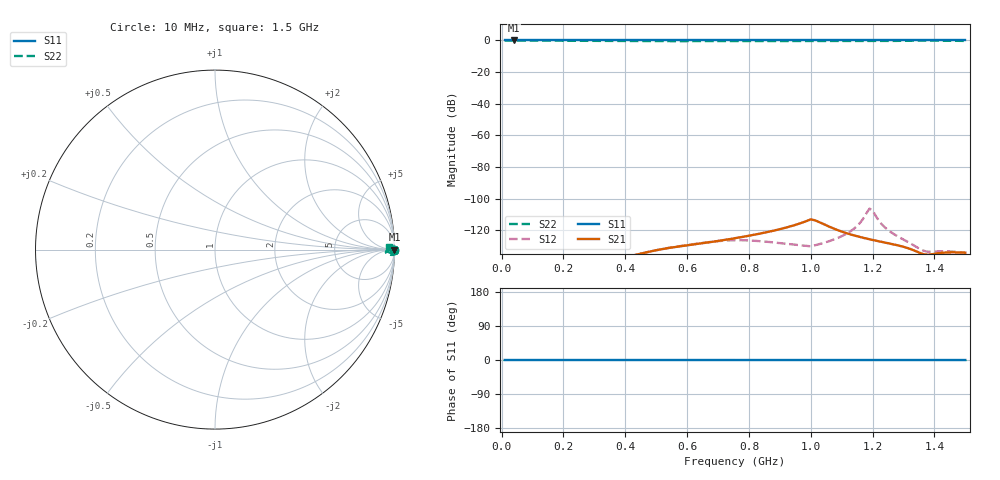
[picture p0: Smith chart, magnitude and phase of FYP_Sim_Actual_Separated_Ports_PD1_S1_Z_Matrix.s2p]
! Touchstone file from project FYP_Sim_Actual_All_Ports
! Exported from HFSS 13.0.2
# GHZ Z MA R 50.000000
! Terminal data exported
! Port[1] = PD1_Void_Port_T1
! Port[2] = Radiating_Plate_T1
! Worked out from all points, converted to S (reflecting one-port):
!   150 points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, 10 MHz to 1.5 GHz, reference 50 ohm
!   lowest |S11| = 0.0 dB at 40 MHz (marker M1)
!   phase of S11 starts at -0 deg and turns -0 deg over the sweep
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0.01  4.33e+05 -90.0  0.0003138 -31.9  0.0003138 -31.9  821.3 -89.2
0.04  1.084e+05 -89.9  0.0002808 -173.4  0.0002808 -173.4  203.6 -89.2
0.1  4.33e+04 -90.0  0.0006936 24.0  0.0006936 24.0  73.81 -89.1
0.11  3.937e+04 -90.0  0.002623 25.7  0.00443 -2.4  70.77 -84.3
0.18  2.407e+04 -90.0  0.01333 35.2  0.01946 1.5  58.08 -61.0
0.26  1.667e+04 -90.0  0.02235 36.3  0.02674 6.2  51.7 -46.7
0.44  9849 -90.0  0.03647 32.6  0.03656 19.8  41.77 -29.9
0.51  8497 -90.0  0.04176 33.4  0.04182 30.1  39.02 -20.2
0.55  7878 -90.0  0.04602 34.1  0.04652 37.3  39.81 -14.1
0.61  7102 -90.0  0.05415 33.7  0.05562 49.2  43.18 -8.8
0.76  5698 -90.0  0.08094 29.8  0.06869 91.5  48.39 -7.2
1.01  4284 -90.0  0.2307 21.0  0.03599 143.1  49.89 -6.9
1.18  3666 -90.0  0.05246 -33.9  0.331 -175.9  51.11 -14.0
1.26  3433 -90.0  0.03581 -41.4  0.0829 -53.8  54.93 -23.5
1.3  3327 -90.0  0.03194 -47.9  0.05398 -55.3  62.81 -32.9
1.33  3251 -90.0  0.03288 -56.7  0.04792 -61.9  83.45 -42.8
1.35  3203 -90.0  0.04137 -63.0  0.05591 -67.1  129.8 -45.5
1.37  3156 -90.0  0.07026 -39.6  0.08919 -42.9  257.5 -11.8
1.4  3088 -90.0  0.03315 -1.4  0.039 -3.6  117.7 39.8
1.42  3045 -90.0  0.02493 -6.3  0.02813 -8.0  83.77 36.8
1.46  2961 -90.0  0.01924 -13.9  0.02029 -14.6  63.51 27.4
1.5  2882 -90.0  0.01654 -17.7  0.01654 -17.7  57.38 21.1
